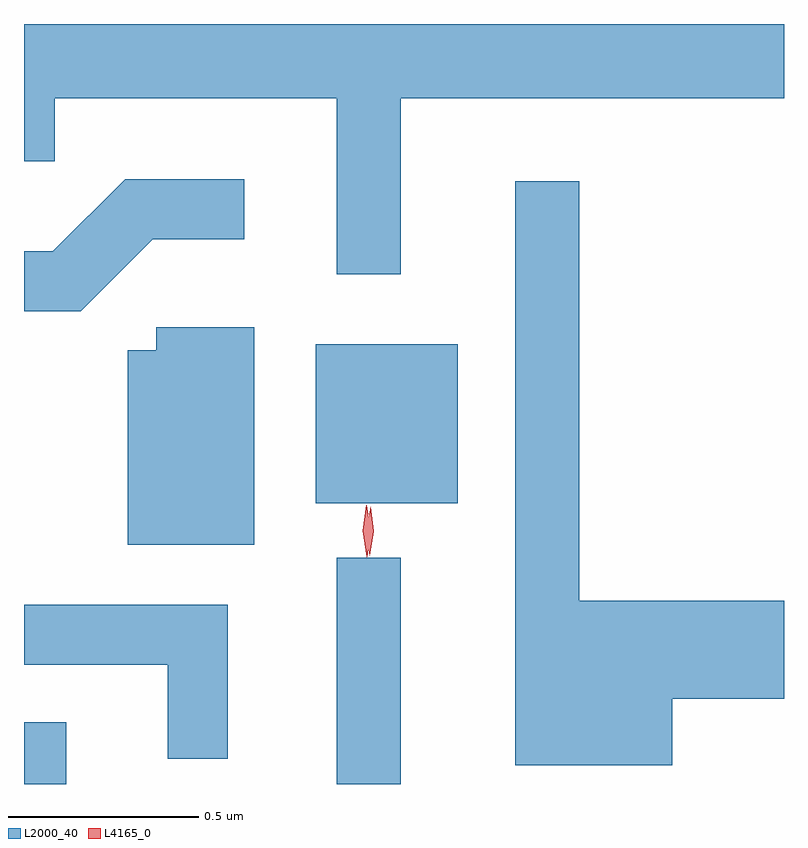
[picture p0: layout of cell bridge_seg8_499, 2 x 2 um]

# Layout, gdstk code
import gdstk
lib = gdstk.Library(unit=1e-6, precision=1e-09)
def R(c, l, rs):  # rectangles x0, y0, x1, y1
    for r in rs: c.add(gdstk.rectangle(r[:2], r[2:], *l))
def P(c, l, *ps):  # polygons
    for p in ps: c.add(gdstk.Polygon(p, *l))
L2000_40 = (2000, 40)
L4165_0 = (4165, 0)

bridge_seg8_499 = lib.new_cell('bridge_seg8_499')
R(bridge_seg8_499, L2000_40, [(331.078,1910.092,331.189,1910.254), (331.901,1910.092,332.069,1910.688), (331.846,1910.831,332.219,1911.249)])
P(bridge_seg8_499, L2000_40, [(332.069,1911.896),(333.078,1911.896),(333.078,1912.092),(331.078,1912.092),(331.078,1911.731),(331.159,1911.731),(331.159,1911.896),(331.901,1911.896),(331.901,1911.433),(332.069,1911.433)],
  [(331.417,1911.526),(331.658,1911.526),(331.658,1911.684),(331.344,1911.684),(331.154,1911.494),(331.078,1911.494),(331.078,1911.336),(331.227,1911.336)],
  [(332.784,1910.316),(333.078,1910.316),(333.078,1910.574),(332.539,1910.574),(332.539,1911.678),(332.371,1911.678),(332.371,1910.141),(332.784,1910.141)],
  [(331.684,1911.294),(331.426,1911.294),(331.426,1911.234),(331.351,1911.234),(331.351,1910.721),(331.684,1910.721)],
  [(331.614,1910.564),(331.078,1910.564),(331.078,1910.406),(331.456,1910.406),(331.456,1910.158),(331.614,1910.158)])
P(bridge_seg8_499, L4165_0, [(331.98,1910.689),(331.98,1910.69),(331.97,1910.758),(331.979,1910.826),(331.98,1910.826),(331.98,1910.826),(331.99,1910.758),(331.981,1910.69)],
  [(331.988,1910.693),(331.988,1910.693),(331.979,1910.757),(331.99,1910.821),(331.99,1910.822),(331.991,1910.821),(331.999,1910.757),(331.988,1910.693)])

lib.write_gds('bridge_seg8_499.gds')
